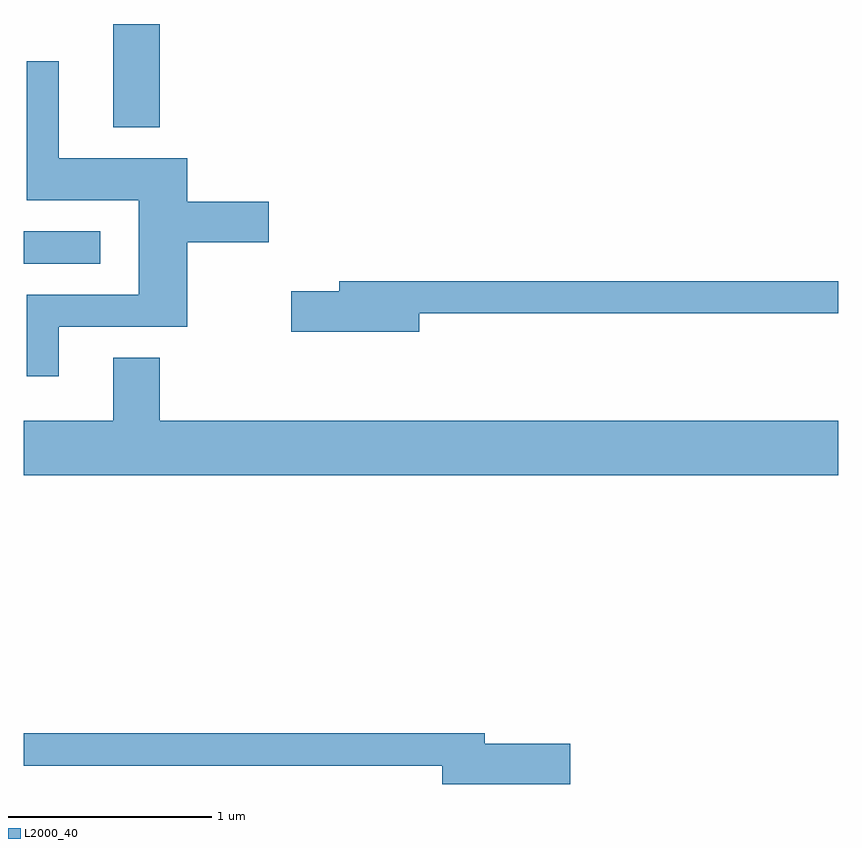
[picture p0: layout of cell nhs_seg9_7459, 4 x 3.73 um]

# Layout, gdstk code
import gdstk
lib = gdstk.Library(unit=1e-6, precision=1e-09)
def R(c, l, rs):  # rectangles x0, y0, x1, y1
    for r in rs: c.add(gdstk.rectangle(r[:2], r[2:], *l))
def P(c, l, *ps):  # polygons
    for p in ps: c.add(gdstk.Polygon(p, *l))
L2000_40 = (2000, 40)

nhs_seg9_7459 = lib.new_cell('nhs_seg9_7459')
R(nhs_seg9_7459, L2000_40, [(405.611,2037.256,405.988,2037.414), (406.051,2037.926,406.279,2038.432)])
P(nhs_seg9_7459, L2000_40, [(405.784,2036.946),(406.414,2036.946),(406.414,2037.361),(406.814,2037.361),(406.814,2037.559),(406.414,2037.559),(406.414,2037.774),(405.784,2037.774),(405.784,2038.248),(405.626,2038.248),(405.626,2037.566),(406.176,2037.566),(406.176,2037.104),(405.626,2037.104),(405.626,2036.703),(405.784,2036.703)],
  [(407.554,2037.011),(409.611,2037.011),(409.611,2037.169),(407.161,2037.169),(407.161,2037.119),(406.926,2037.119),(406.926,2036.921),(407.554,2036.921)],
  [(409.611,2036.484),(406.279,2036.484),(406.279,2036.794),(406.051,2036.794),(406.051,2036.484),(405.611,2036.484),(405.611,2036.216),(409.611,2036.216)],
  [(408.294,2034.899),(407.874,2034.899),(407.874,2034.949),(405.611,2034.949),(405.611,2034.791),(407.666,2034.791),(407.666,2034.701),(408.294,2034.701)])

lib.write_gds('nhs_seg9_7459.gds')
